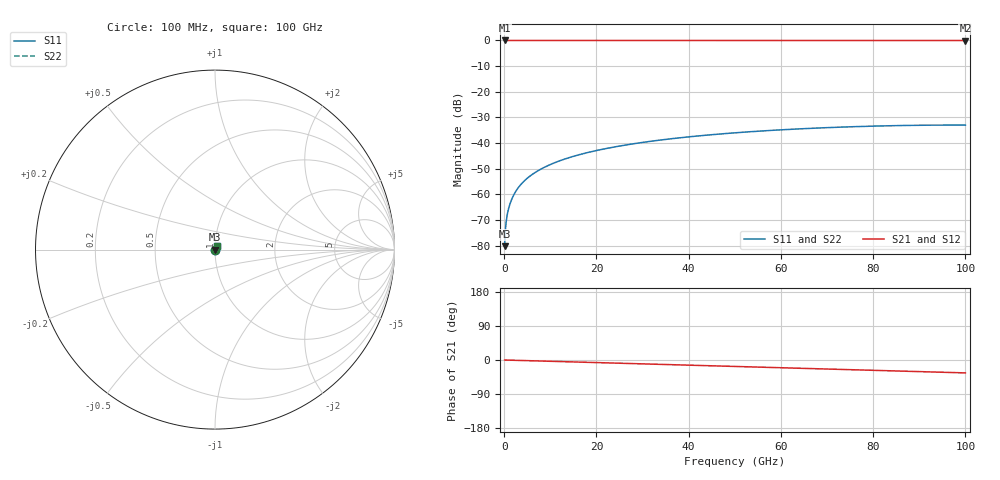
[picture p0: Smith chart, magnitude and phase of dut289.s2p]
! Touchstone file exported from HFSS 2026.1.0
!  File:  C:/ffzhzh/LocalFiles/Ansys_Project_Files/temp_train_TSV_289_1783508970_9504.aedt
!  Generated:  07:10:45 PM Jul  8, 2026
!  Design:  TSV
!  Project:  temp_train_TSV_289_1783508970_9504
! Variables:
!  h_bsmrdl = 2um
!  h_ox = 20um
!  h_rdl = 5um
!  h_sub = 62.99um
!  h_tmrdl = 5um
!  h_tsv = 62.99um
!  h_via = 3um
!  l_bsmrdl = 300um
!  l_sub = 426.82um
!  l_tmrdl = 200um
!  m_sub = 200um
!  pitch = 56.45um
!  r_tsv = 13.41um
!  s_tmrdl = 10um
!  w_bsmrdl = 18um
!  w_sub = 500um
!  w_tmrdl = 12um
!  x_tsv_center1 = 206um
!  x_tsv_center2 = 524um
!  x_tsv_center3 = 736um
!  x_tsv_center4 = 1054um
!  x_tsv_center5 = 1266um
!  x_tsv_center6 = 1584um
# GHz S MA R 50.000000
! Terminal data exported
! Port[1] = TSV1_1_T1
! Port[2] = TSV1_1_T2
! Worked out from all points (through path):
!   1000 points, 100 MHz to 100 GHz, reference 50 ohm
!   highest |S21| = 0.00 dB at 100 MHz (marker M1); lowest = 0.0 dB at 100 GHz (marker M2)
!   group delay of S21, straight-line fit = 944 fs
!   lowest |S11| = -80.2 dB at 100 MHz (marker M3), VSWR 1.00, Z = 50 + j0.0068 ohm
!   |S11| at or under -10 dB: start of sweep to end of sweep
!   |S22| runs from -80.2 to -33.0 dB; largest |S21 - S12| = 2.1e-15
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0.1  9.718e-05 44.4  0.9999 -0.0  0.9999 -0.0  9.718e-05 44.4
! Gamma 0 0 0 0
! Port Impedance 50 0 50 0
0.4  0.0002695 65.1  0.9999 -0.1  0.9999 -0.1  0.0002695 65.1
0.7  0.0004133 67.3  0.9998 -0.2  0.9998 -0.2  0.0004133 67.3
0.8  0.0004566 67.8  0.9998 -0.3  0.9998 -0.3  0.0004566 67.8
1  0.00054 69.0  0.9998 -0.3  0.9998 -0.3  0.00054 69.0
1.3  0.0006614 70.5  0.9998 -0.5  0.9998 -0.5  0.0006614 70.5
1.8  0.0008599 72.4  0.9997 -0.6  0.9997 -0.6  0.0008599 72.4
2.4  0.001093 73.8  0.9997 -0.8  0.9997 -0.8  0.001093 73.8
3.1  0.001358 74.8  0.9997 -1.1  0.9997 -1.1  0.001358 74.8
3.9  0.001653 75.6  0.9996 -1.3  0.9996 -1.3  0.001653 75.6
4.9  0.002014 76.3  0.9996 -1.7  0.9996 -1.7  0.002014 76.3
6.1  0.002441 76.9  0.9995 -2.1  0.9995 -2.1  0.002441 76.9
8.9  0.003419 77.5  0.9994 -3.0  0.9994 -3.0  0.003419 77.5
12.4  0.004618 77.3  0.9993 -4.2  0.9993 -4.2  0.004617 77.3
16.8  0.006082 76.8  0.9992 -5.7  0.9992 -5.7  0.006082 76.8
24.2  0.008464 75.4  0.999 -8.2  0.999 -8.2  0.008464 75.4
33.4  0.01128 73.1  0.9988 -11.3  0.9988 -11.3  0.01128 73.1
41.3  0.01353 70.9  0.9987 -14.0  0.9987 -14.0  0.01353 70.9
50.1  0.01582 68.2  0.9985 -17.0  0.9985 -17.0  0.01582 68.2
66.7  0.01936 63.0  0.9982 -22.6  0.9982 -22.6  0.01936 63.0
83.4  0.02169 57.6  0.9979 -28.3  0.9979 -28.3  0.02169 57.6
100  0.02231 52.1  0.9975 -34.0  0.9975 -34.0  0.02231 52.1
